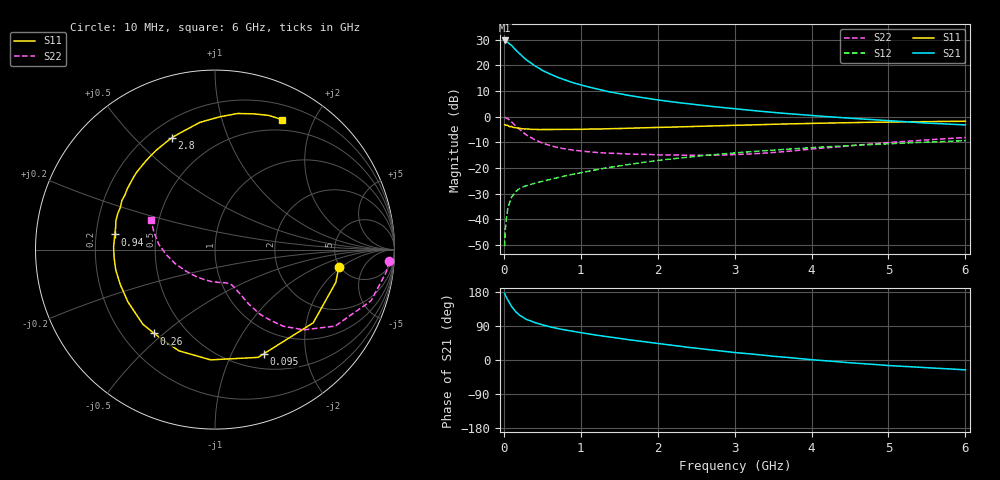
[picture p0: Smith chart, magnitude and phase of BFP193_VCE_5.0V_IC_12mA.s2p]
! Infineon Technologies  Discrete & RF Semiconductors
! BFP193
! VCE = 5.0 V,  IC =  12 mA
! Common Emitter S-Parameters:  Jan 2016
# GHz  S  MA  R  50
!  f  S11  S21  S12  S22
! GHz  MAG  ANG  MAG  ANG  MAG  ANG  MAG  ANG
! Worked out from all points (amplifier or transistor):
!   210 points, 10 MHz to 6 GHz, reference 50 ohm
!   highest |S21| = 29.7 dB at 10 MHz (marker M1)
!   |S21| within 3 dB of that: start of sweep to 132.1 MHz
!   unconditionally stable (mu >= 1): 941.6 MHz to 3.789 GHz
!   at 185 MHz: K = 0.36, MSG = 26.8 dB, |S12| = -28.4 dB
!   at 1.52 GHz: K = 1.08, MAG = 12.2 dB, |S12| = -19.1 dB
!   at 6 GHz: K = 0.90, MSG = 3.1 dB, |S12| = -9.3 dB
!   S11 on the Smith chart (normalised r, x): 10 MHz: 4.91, -1.81; 95 MHz: 0.68, -1.34; 260 MHz: 0.33, -0.47; 940 MHz: 0.28, +0.07; 2.8 GHz: 0.29, +0.65; 6 GHz: 0.37, +1.58
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0.01  0.6969 -7.8  30.56 176.0  0.003 86.8  0.9714 -3.9
0.02  0.6973 -15.2  29.67 170.5  0.0064 82.7  0.9621 -7.5
0.05  0.6825 -36.7  28.16 158.5  0.0156 73.5  0.9154 -18.1
0.095  0.6412 -65.0  24.74 143.2  0.0257 62.1  0.8032 -30.9
0.1  0.6467 -68.2  24.49 141.3  0.0269 61.4  0.7936 -32.5
0.15  0.6148 -92.3  20.25 128.1  0.0344 53.5  0.6684 -42.0
0.2  0.5988 -109.7  17.18 118.9  0.0394 49.0  0.572 -48.3
0.24  0.5796 -121.0  15.05 113.4  0.0423 46.7  0.5074 -51.5
0.26  0.577 -125.9  14.14 110.9  0.0435 46.0  0.4802 -52.9
0.3  0.5784 -134.0  12.57 106.5  0.0456 45.3  0.4357 -55.3
0.4  0.5659 -149.1  9.846 98.9  0.0505 44.9  0.3558 -58.2
0.5  0.5626 -159.8  7.998 92.6  0.0551 45.8  0.3058 -59.8
0.7  0.5638 -175.2  5.857 82.9  0.0649 48.1  0.2508 -62.1
0.94  0.5643 171.4  4.409 74.2  0.0777 49.6  0.2195 -64.4
1.02  0.5672 167.4  4.082 71.5  0.082 50.1  0.213 -65.6
1.4  0.5864 152.3  2.994 60.0  0.1041 50.7  0.1939 -72.7
2.02  0.618 132.1  2.1 43.2  0.1411 47.8  0.18 -89.0
2.8  0.6686 111.1  1.532 24.3  0.1855 41.5  0.1783 -116.5
3.1  0.6833 104.7  1.378 18.0  0.2021 38.6  0.1847 -128.0
4.1  0.7452 86.4  1.028 -0.7  0.2546 28.6  0.2409 -163.3
5.1  0.7895 72.9  0.818 -15.7  0.3012 18.1  0.3212 172.5
6  0.8147 62.7  0.691 -26.0  0.341 8.6  0.3931 155.2
